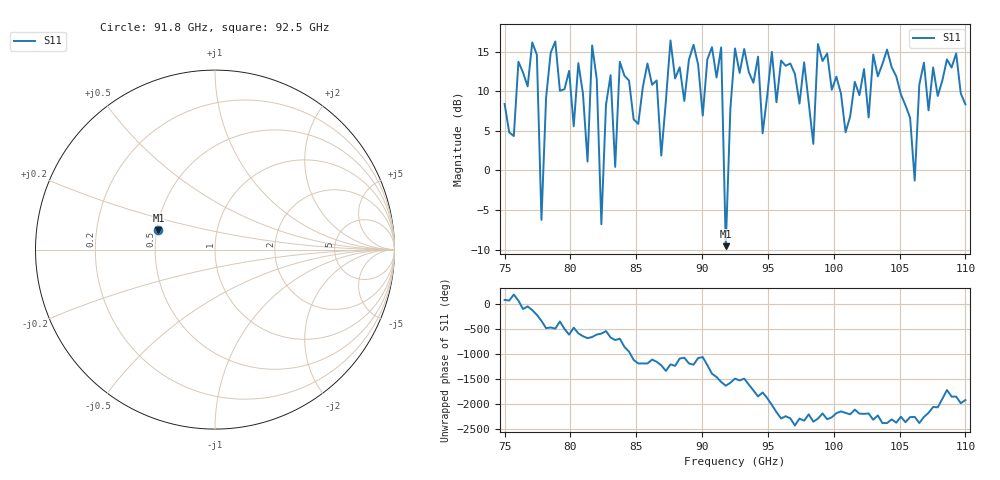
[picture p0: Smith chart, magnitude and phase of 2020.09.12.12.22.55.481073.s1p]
!Created with skrf (http://scikit-rf.org).
# GHz S RI R 50.0
!freq ReS11 ImS11
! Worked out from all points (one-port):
!   101 points, 75 GHz to 110 GHz, reference 50 ohm
!   lowest |S11| = -9.6 dB at 91.8 GHz (marker M1), VSWR 2.00, Z = 25.6 + j6.13 ohm
!   |S11| at or under -10 dB: nowhere
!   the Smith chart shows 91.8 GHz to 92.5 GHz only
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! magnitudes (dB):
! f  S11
! 75 GHz  8.4
! 77.45 GHz  14.6
! 77.8 GHz  -6.3
! 78.5 GHz  14.9
! 79.55 GHz  10.3
! 80.6 GHz  13.6
! 81.3 GHz  1.1
! 81.65 GHz  15.8
! 82.35 GHz  -6.8
! 82.7 GHz  8.3
! 83.4 GHz  0.5
! 83.75 GHz  13.7
! 86.55 GHz  11.4
! 86.9 GHz  1.9
! 87.6 GHz  16.4
! 88.3 GHz  13.0
! 91.45 GHz  15.6
! 91.8 GHz  -9.6
! 92.5 GHz  15.4
! 94.6 GHz  4.7
! 95.3 GHz  15.0
! 97.05 GHz  12.2
! 101.2 GHz  6.8
! 104 GHz  15.3
! 105.8 GHz  6.7
! 106.2 GHz  -1.3
! 106.8 GHz  13.6
! 110 GHz  8.4
